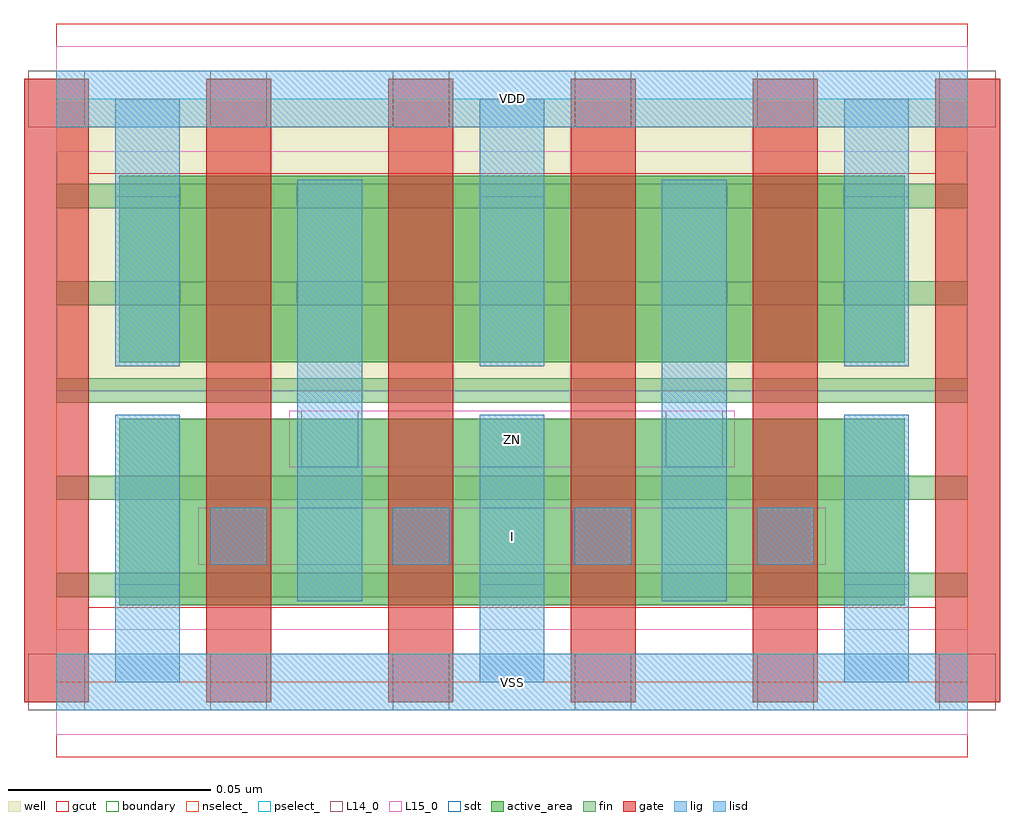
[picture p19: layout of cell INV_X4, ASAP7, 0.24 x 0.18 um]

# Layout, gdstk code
import gdstk
lib = gdstk.Library(unit=1e-6, precision=2.5e-10)
def R(c, l, rs):  # rectangles x0, y0, x1, y1
    for r in rs: c.add(gdstk.rectangle(r[:2], r[2:], *l))
def A(c, l, x, y, w, h, nx, ny, dx, dy):  # array of equal rectangles
    R(c, l, [(x+i*dx, y+j*dy, x+i*dx+w, y+j*dy+h) for i in range(nx) for j in range(ny)])
well = (1, 0)
fin = (2, 0)
gate = (7, 0)
gcut = (10, 0)
active_area = (11, 0)
nselect_ = (12, 0)
pselect_ = (13, 0)
L14_0 = (14, 0)
L15_0 = (15, 0)
lig = (16, 0)
lisd = (17, 0)
sdt = (88, 0)
boundary = (100, 0)

inv_x4 = lib.new_cell('INV_X4')
R(inv_x4, well, [(0,0.072,0.225,0.144)])
A(inv_x4, fin, 0, 0.021, 0.225, 0.006, 1, 5, 0, 0.024)
A(inv_x4, gate, -0.008, -0.005, 0.016, 0.154, 6, 1, 0.045, 0)
R(inv_x4, gcut, [(0,-0.0185,0.225,0.0185), (-0.008,-0.005,0.008,0.149), (0.217,-0.005,0.233,0.149), (0,0.1255,0.225,0.1625)])
A(inv_x4, active_area, 0.0155, 0.019, 0.059, 0.046, 4, 2, 0.045, 0.06)
R(inv_x4, nselect_, [(0,0,0.225,0.072)])
R(inv_x4, pselect_, [(0,0.072,0.225,0.144)])
A(inv_x4, L14_0, -0.007, -0.007, 0.014, 0.014, 6, 2, 0.045, 0.144)
A(inv_x4, L14_0, 0.038, 0.029, 0.014, 0.014, 4, 1, 0.045, 0)
R(inv_x4, L14_0, [(0.0605,0.053,0.0745,0.067), (0.1505,0.053,0.1645,0.067)])
R(inv_x4, L15_0, [(0,-0.013,0.225,0.013), (0.035,0.029,0.19,0.043), (0.0575,0.053,0.1675,0.067), (0,0.131,0.225,0.157)])
A(inv_x4, lig, 0.038, 0.029, 0.014, 0.014, 4, 1, 0.045, 0)
R(inv_x4, lig, [(0,-0.007,0.225,0.007), (0,0.137,0.225,0.151)])
R(inv_x4, lisd, [(0.0145,0,0.0305,0.066), (0.1045,0,0.1205,0.066), (0.1045,0,0.1205,0.066), (0.1945,0,0.2105,0.066), (0.0595,0.02,0.0755,0.124), (0.0595,0.02,0.0755,0.124), (0.1495,0.02,0.1655,0.124), (0.1495,0.02,0.1655,0.124), (0.0145,0.078,0.0305,0.144), (0.1045,0.078,0.1205,0.144), (0.1045,0.078,0.1205,0.144), (0.1945,0.078,0.2105,0.144)])
R(inv_x4, sdt, [(0.0595,0.02,0.0755,0.124), (0.0595,0.02,0.0755,0.124), (0.1495,0.02,0.1655,0.124), (0.1495,0.02,0.1655,0.124), (0.0145,0.024,0.0305,0.066), (0.1045,0.024,0.1205,0.066), (0.1045,0.024,0.1205,0.066), (0.1945,0.024,0.2105,0.066), (0.0145,0.078,0.0305,0.12), (0.1045,0.078,0.1205,0.12), (0.1045,0.078,0.1205,0.12), (0.1945,0.078,0.2105,0.12)])
R(inv_x4, boundary, [(0,0,0.225,0.144)])
inv_x4.add(gdstk.Label('VDD', (0.1125,0.144), layer=1, texttype=251))
inv_x4.add(gdstk.Label('VSS', (0.1125,0), layer=3, texttype=251))
inv_x4.add(gdstk.Label('ZN', (0.1125,0.06), layer=15, texttype=251))
inv_x4.add(gdstk.Label('I', (0.1125,0.036), layer=15, texttype=251))
inv_x4.add(gdstk.Label('VSS', (0.1125,0), layer=15, texttype=251))
inv_x4.add(gdstk.Label('VDD', (0.1125,0.144), layer=15, texttype=251))

lib.write_gds('INV_X4.gds')
